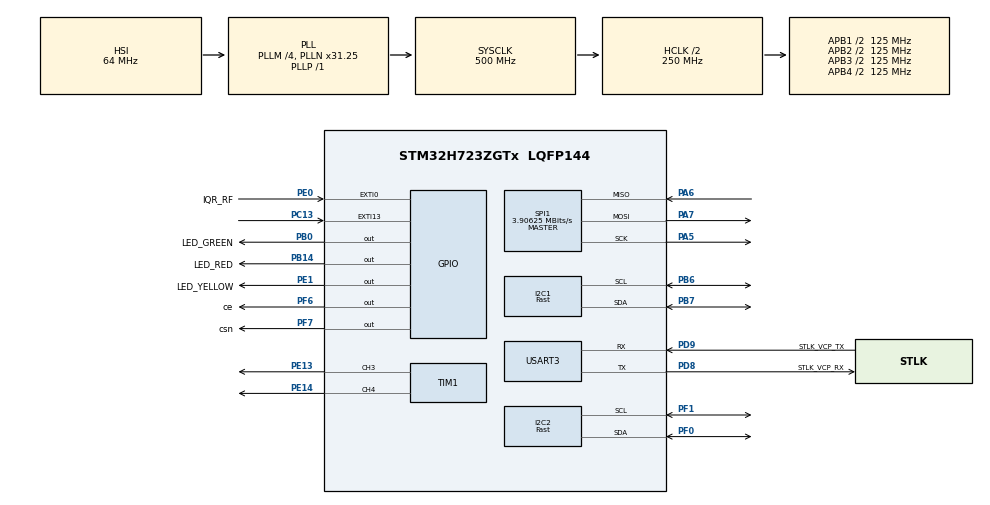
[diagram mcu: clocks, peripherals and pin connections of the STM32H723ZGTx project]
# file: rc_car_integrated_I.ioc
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CORTEX_M7.default_mode_Activation=1
Dma.Request0=USART3_RX
Dma.USART3_RX.0.Direction=DMA_PERIPH_TO_MEMORY
Dma.USART3_RX.0.EventEnable=DISABLE
Dma.USART3_RX.0.FIFOMode=DMA_FIFOMODE_DISABLE
Dma.USART3_RX.0.Instance=DMA1_Stream0
Dma.USART3_RX.0.MemDataAlignment=DMA_MDATAALIGN_BYTE
Dma.USART3_RX.0.MemInc=DMA_MINC_ENABLE
Dma.USART3_RX.0.Mode=DMA_NORMAL
Dma.USART3_RX.0.PeriphDataAlignment=DMA_PDATAALIGN_BYTE
Dma.USART3_RX.0.PeriphInc=DMA_PINC_DISABLE
Dma.USART3_RX.0.Polarity=HAL_DMAMUX_REQ_GEN_RISING
Dma.USART3_RX.0.Priority=DMA_PRIORITY_LOW
Dma.USART3_RX.0.RequestNumber=1
Dma.USART3_RX.0.SignalID=NONE
Dma.USART3_RX.0.SyncEnable=DISABLE
Dma.USART3_RX.0.SyncPolarity=HAL_DMAMUX_SYNC_NO_EVENT
Dma.USART3_RX.0.SyncRequestNumber=1
Dma.USART3_RX.0.SyncSignalID=NONE
I2C1.I2C_Speed_Mode=I2C_Fast
I2C1.Timing=0x00C042E4
I2C2.I2C_Speed_Mode=I2C_Fast
I2C2.Timing=0x00C042E4
Mcu.Family=STM32H7
Mcu.Name=STM32H723ZGTx
Mcu.Package=LQFP144
NVIC.DMA1_Stream0_IRQn=true\:0\:0\:false\:false\:true\:false\:true\:true
NVIC.PriorityGroup=NVIC_PRIORITYGROUP_4
NVIC.TIM2_IRQn=true\:0\:0\:false\:false\:true\:true\:true\:true
NVIC.TIM3_IRQn=true\:0\:0\:true\:false\:true\:true\:true\:true
NVIC.USART3_IRQn=true\:0\:0\:false\:false\:true\:true\:true\:true
PA13(JTMS/SWDIO).GPIO_Label=SWDIO
PA13(JTMS/SWDIO).Signal=DEBUG_JTMS-SWDIO
PA14(JTCK/SWCLK).GPIO_Label=SWCLK
PA14(JTCK/SWCLK).Signal=DEBUG_JTCK-SWCLK
PA5.Mode=Full_Duplex_Master
PA5.Signal=SPI1_SCK
PA6.Mode=Full_Duplex_Master
PA6.Signal=SPI1_MISO
PA7.Mode=Full_Duplex_Master
PA7.Signal=SPI1_MOSI
PB0.GPIO_Label=LED_GREEN
PB0.Signal=GPIO_Output
PB14.GPIO_Label=LED_RED
PB14.Signal=GPIO_Output
PB6.Mode=I2C
PB6.Signal=I2C1_SCL
PB7.Mode=I2C
PB7.Signal=I2C1_SDA
PC13.Signal=GPXTI13
PC14-OSC32_IN.Signal=RCC_OSC32_IN
PC15-OSC32_OUT.Signal=RCC_OSC32_OUT
PD8.GPIO_Label=STLK_VCP_RX
PD8.Mode=Asynchronous
PD8.Signal=USART3_TX
PD9.GPIO_Label=STLK_VCP_TX
PD9.Mode=Asynchronous
PD9.Signal=USART3_RX
PE0.GPIO_Label=IQR_RF
PE0.Signal=GPXTI0
PE1.GPIO_Label=LED_YELLOW
PE1.Signal=GPIO_Output
PE13.Signal=S_TIM1_CH3
PE14.Signal=S_TIM1_CH4
PF0.Mode=I2C
PF0.Signal=I2C2_SDA
PF1.Mode=I2C
PF1.Signal=I2C2_SCL
PF6.GPIO_Label=ce
PF6.PinState=GPIO_PIN_SET
PF6.Signal=GPIO_Output
PF7.GPIO_Label=csn
PF7.PinState=GPIO_PIN_SET
PF7.Signal=GPIO_Output
ProjectManager.HeapSize=0x200
ProjectManager.StackSize=0x400
ProjectManager.TargetToolchain=STM32CubeIDE
RCC.ADCFreq_Value=608000000
RCC.APB1Freq_Value=125000000
RCC.APB2Freq_Value=125000000
RCC.APB3Freq_Value=125000000
RCC.APB4Freq_Value=125000000
RCC.CortexFreq_Value=500000000
RCC.D1PPRE=RCC_APB3_DIV2
RCC.D2PPRE1=RCC_APB1_DIV2
RCC.D2PPRE2=RCC_APB2_DIV2
RCC.D3PPRE=RCC_APB4_DIV2
RCC.DIVM1=4
RCC.DIVM2=1
RCC.DIVN1=31
RCC.DIVN2=19
RCC.DIVP1=1
RCC.DIVQ1=4
RCC.HCLKFreq_Value=250000000
RCC.HPRE=RCC_HCLK_DIV2
RCC.HSE_VALUE=8000000
RCC.PLLFRACN=2048
RCC.SYSCLKFreq_VALUE=500000000
RCC.SYSCLKSource=RCC_SYSCLKSOURCE_PLLCLK
RCC.USBCLockSelection=RCC_USBCLKSOURCE_HSI48
RCC.USBFreq_Value=48000000
SH.S_TIM1_CH3.0=TIM1_CH3,PWM Generation3 CH3
SH.S_TIM1_CH4.0=TIM1_CH4,PWM Generation4 CH4
SPI1.BaudRatePrescaler=SPI_BAUDRATEPRESCALER_32
SPI1.CalculateBaudRate=3.90625 MBits/s
SPI1.DataSize=SPI_DATASIZE_8BIT
SPI1.Direction=SPI_DIRECTION_2LINES
SPI1.Mode=SPI_MODE_MASTER
SPI1.VirtualType=VM_MASTER
TIM1.Channel-PWM\ Generation3\ CH3=TIM_CHANNEL_3
TIM1.Channel-PWM\ Generation4\ CH4=TIM_CHANNEL_4
TIM2.Period=10000
TIM2.Prescaler=250-1
TIM24.Prescaler=25-1
TIM3.Prescaler=250-1
USART3.VirtualMode-Asynchronous=VM_ASYNC
VP_MEMORYMAP_VS_MEMORYMAP.Mode=CurAppReg
VP_TIM1_VS_ClockSourceINT.Mode=Internal
VP_TIM24_VS_ClockSourceINT.Mode=Internal
VP_TIM2_VS_ClockSourceINT.Mode=Internal
VP_TIM3_VS_ClockSourceINT.Mode=Internal
board=NUCLEO-H723ZG

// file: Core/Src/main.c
/* USER CODE BEGIN Header */
/**
  ******************************************************************************
  * @file           : main.c
  * @brief          : Main program body
  ******************************************************************************
  * @attention
  *
  * Copyright (c) 2025 STMicroelectronics.
  * All rights reserved.
  *
  * This software is licensed under terms that can be found in the LICENSE file
  * in the root directory of this software component.
  * If no LICENSE file comes with this software, it is provided AS-IS.
  *
  ******************************************************************************
  */
/* USER CODE END Header */
#include "main.h"

/* USER CODE BEGIN Includes */
#include <stdint.h>
#include <stdio.h>
#include <string.h>
#include <ctype.h>
#include <stdlib.h>
#include "GarminLidarLiteV3.h"
#include "LIS3DH.h"
#include "stm32h7xx_hal.h"
#include "delay.h" // Include delay.h for delay functions
#include "commandReader.h"
#include "NRF24_conf.h"
#include "NRF24_reg_addresses.h"
#include "NRF24.h"

/* USER CODE END Includes */

/* USER CODE BEGIN PD */
#define UART_DMA_RX_SIZE 32
#define PLD_S 32

/* USER CODE END PD */

I2C_HandleTypeDef hi2c1;
I2C_HandleTypeDef hi2c2;

SPI_HandleTypeDef hspi1;

TIM_HandleTypeDef htim1;
TIM_HandleTypeDef htim2;
TIM_HandleTypeDef htim3;
TIM_HandleTypeDef htim24;

UART_HandleTypeDef huart3;
DMA_HandleTypeDef hdma_usart3_rx;

/* USER CODE BEGIN PV */
///////////////////// State Machines  ////////////////////////////////////////////////////////
typedef enum
{
	WAIT_STATE,
	FORWARD_STATE,
	BACKWARD_STATE,
	BRAKE_STATE,
	COAST_STATE,
	GET_SENSOR_DATA_STATE,
	SET_PID_STATE
} StateType;
StateType currentState = WAIT_STATE;
StateType nextState = WAIT_STATE;

typedef enum
{
	RX_STATE,
	TX_STATE
} CommModeType;
CommModeType currentCommMode = RX_STATE;

///////////////////// Structures To use as Global Variables   ////////////////////////////////////////////////////////

struct DataToTransmit
{
   // Disregarding the cmd, all the variables byte size should add up to 18-20bytes
	uint8_t cmd[PLD_S]; // Will grab all the structure variables compress to string and transmit through NRF24L01
	int32_t a_x; // Store the acceleration in x-axis
    int32_t a_y; // Store the acceleration in y-axis
    int32_t a_z; // Store the acceleration in z-axis
    uint16_t distance_cm; // Store the distance measurement in centimeters
    char stationaryFlag;  // This is Flag to indicate back to the transmitter whether there is a stationary object when the car is accelerating.
    uint32_t timestamp; // in milliseconds

};

struct DataToReceive
{
	// Disregarding the cmd, all the variables byte size should add up to 14-16bytes
	uint8_t cmd[PLD_S]; // The command is received as a string and will be parsed to determine the action and parameters to store
	// under the DataToReceive structure.
	int32_t pwm_value; // Temporarily will use pwm value, for testing the car until the speed can be determined after figure out the actual speed of the RC car.
	int16_t setSpeed; // Will grab the speed value received from the command and store it here, which will be used to set the PWM duty cycle for motor control.
	int16_t Pset; // PID proportional gain
	int16_t Iset; // PID integral gain
	int16_t Dset; // PID derivative gain
	int32_t sampleTime; // Sampling time for the PID controller, which will determine how often the control loop runs and updates the motor commands based on the sensor feedback.
};

struct TimeTracking
{
	uint32_t seconds_counter; // This will keep track of the total elapsed time in seconds since the system started, which can be useful for timestamping data and events.
	uint32_t set_timer_period; // This variable will store the timer period in ticks, which is used to configure the timer interrupt frequency for tasks like sensor reading and control loop execution.
	uint32_t stamped_time; // This variable will store the timestamp of the last sensor reading or control loop execution, which can be used to calculate elapsed time and ensure consistent timing for the control algorithm.
	uint32_t milliAdder; // This variable will add a certain number of milliseconds to the stamped_time to determine when the next sensor reading or control loop execution should occur, allowing for precise timing control in the system.
	uint32_t timeAccumulator; // This variable will accumulate the elapsed time in milliseconds.
};

///////////////////// Variable Declarations  ////////////////////////////////////////////////////////

////// UART Declarations  //////////////////////////////////////
/// will not be used unless there is some troubleshooting needed.
// For UART message processing
char uart_current_msg[UART_DMA_RX_SIZE];
// UART DMA Buffer
uint8_t UART3_rxBuffer[UART_DMA_RX_SIZE]; // DMA buffer

////// Time Tracking Declarations  //////////////////////////////////////
struct TimeTracking Tset =
{
    .seconds_counter = 0,
    .set_timer_period = 10000,
	.stamped_time = 0,
	.milliAdder = 0,
	.timeAccumulator = 0
};
// Rate of ticks is 1MHz with prescalar of 100 (assuming 100MHz clock)
// 1ticks = 1us

//////  LIDAR Declarations  //////////////////////////////////////
// Sensitivity level
volatile uint8_t sensitivity_level = 100;
volatile uint8_t acq_cmd_param = TAKE_DISTANCE_MEASUREMENT_WITH_BIAS_CORRECTION;

//////  Commands Declarations  //////////////////////////////////////
struct DataToTransmit Transmit = {0};  // This initializes all members to 0
struct DataToReceive Receive = {0};    // This initializes all members to 0

//////  NRF24L01 Declarations  //////////////////////////////////////
uint8_t tx_addr[5] = {0x45, 0x55, 0x67, 0x10, 0x21};

volatile int pwm_value = 0;

/* USER CODE END PV */

void SystemClock_Config(void);
static void MPU_Config(void);
static void MX_GPIO_Init(void);
static void MX_DMA_Init(void);
static void MX_SPI1_Init(void);
static void MX_TIM1_Init(void);
static void MX_TIM2_Init(void);
static void MX_TIM24_Init(void);
static void MX_USART3_UART_Init(void);
static void MX_I2C1_Init(void);
static void MX_I2C2_Init(void);
static void MX_TIM3_Init(void);
/* USER CODE BEGIN PFP */
void nrf24_setup(void);

/* USER CODE END PFP */

int main(void)
{

  /* MPU Configuration--------------------------------------------------------*/
  MPU_Config();

  /* MCU Configuration--------------------------------------------------------*/

  /* Reset of all peripherals, Initializes the Flash interface and the Systick. */
  HAL_Init();

  /* Configure the system clock */
  SystemClock_Config();

  /* Initialize all configured peripherals */
  MX_GPIO_Init();
  MX_DMA_Init();
  MX_SPI1_Init();
  MX_TIM1_Init();
  MX_TIM2_Init();
  MX_TIM24_Init();
  MX_USART3_UART_Init();
  MX_I2C1_Init();
  MX_I2C2_Init();
  MX_TIM3_Init();
  /* USER CODE BEGIN 2 */
  lis3dh_init();
  GarLiteV3_Init();
  HAL_UART_Receive_DMA(&huart3, UART3_rxBuffer, UART_DMA_RX_SIZE);
  // Start TIM3 with interrupt
  HAL_TIM_Base_Start_IT(&htim3);
  // Start TIM2 with interrupt
//  HAL_TIM_Base_Start_IT(&htim2);
  // Initialized NRF24L01
  nrf24_setup();
  nrf24_listen();

  // Use absolute compare (tick) values directly instead of percentage
  // These are timer ticks (must be <= htim1.Init.Period)
  uint32_t pulse_ch3 = 25000U; // channel 1
  uint32_t pulse_ch4 = 25000U; // channel 2
//  char msg[50];

  // Set up time Adder for timestamping and timing control
  Tset.milliAdder = Tset.set_timer_period / 1000;

  /* Sanity checks: ensure values do not exceed ARR (which is htim1.Init.Period) */
  if (pulse_ch3 > (uint32_t)htim1.Init.Period)
  {
    Error_Handler();
  }
  if (pulse_ch4 > (uint32_t)htim1.Init.Period)
  {
    Error_Handler();
  }

  /* Start PWM channels */
  if (HAL_TIM_PWM_Start(&htim1, TIM_CHANNEL_3) != HAL_OK)
  {
    Error_Handler();
  }
  if (HAL_TIM_PWM_Start(&htim1, TIM_CHANNEL_4) != HAL_OK)
  {
    Error_Handler();
  }

  /* USER CODE END 2 */

  /* Infinite loop */
  while (1)
  {

    /* USER CODE BEGIN 3 */
	  switch (currentState)
	  {
	  	  case WAIT_STATE:
		  // Do nothing, wait for command
		  break;

		  case FORWARD_STATE:

			  pulse_ch3 = Receive.pwm_value;
			  __HAL_TIM_SET_COMPARE(&htim1, TIM_CHANNEL_3, pulse_ch3);
			  __HAL_TIM_SET_COMPARE(&htim1, TIM_CHANNEL_4, 0);
//			  HAL_GPIO_TogglePin(LED_GREEN_GPIO_Port, LED_GREEN_Pin);
//			  strcpy(msg, "State: Forward\r\n");
//			  HAL_UART_Transmit(&huart3, (char *)&msg, strlen(msg), HAL_MAX_DELAY); // Transmit a message for testingg
			  break;

		  case BACKWARD_STATE:
			  pulse_ch4 = Receive.pwm_value;
			  __HAL_TIM_SET_COMPARE(&htim1, TIM_CHANNEL_3, 0);
			  __HAL_TIM_SET_COMPARE(&htim1, TIM_CHANNEL_4, pulse_ch4);
//			  HAL_GPIO_TogglePin(LED_GREEN_GPIO_Port, LED_GREEN_Pin);
			  break;

		  case BRAKE_STATE:
			  pulse_ch3 = Receive.pwm_value;
			  pulse_ch4 = Receive.pwm_value;
			  __HAL_TIM_SET_COMPARE(&htim1, TIM_CHANNEL_3, pulse_ch3);
			  __HAL_TIM_SET_COMPARE(&htim1, TIM_CHANNEL_4, pulse_ch4);
//			  HAL_GPIO_TogglePin(LED_GREEN_GPIO_Port, LED_GREEN_Pin);
			  break;

		  case COAST_STATE:
			  __HAL_TIM_SET_COMPARE(&htim1, TIM_CHANNEL_3, 0);
			  __HAL_TIM_SET_COMPARE(&htim1, TIM_CHANNEL_4, 0);
//			  HAL_GPIO_TogglePin(LED_GREEN_GPIO_Port, LED_GREEN_Pin);
//			  strcpy(msg, "State: Coast\r\n");
//			  HAL_UART_Transmit(&huart3, (char *)&msg, strlen(msg), HAL_MAX_DELAY); // Transmit a message for testing
			  currentState = WAIT_STATE; // Transition back to wait state after coasting
			  break;

		  case SET_PID_STATE:
//			  HAL_GPIO_TogglePin(LED_GREEN_GPIO_Port, LED_GREEN_Pin);
			  // Will set up PID parameters later on, after performing enough test.
			  break;

		  case GET_SENSOR_DATA_STATE:
//			  HAL_GPIO_TogglePin(LED_GREEN_GPIO_Port, LED_GREEN_Pin);
			  // Get Accelerometer data for now.
//			  read_XYZ_Acceleration(&Transmit.a_x, &Transmit.a_y, &Transmit.a_z); /// Return 16 bit raw data, need to convert to mg in the future if needed. For now just transmit the raw data.
			  measure_XYZ_Acceleration(&Transmit.a_x, &Transmit.a_y, &Transmit.a_z);
			  simple_measurement(&Transmit.distance_cm,0);
			  // Packet the data to transmit through NRF24L01
			  Tset.stamped_time = Tset.stamped_time + Tset.milliAdder; // Get the current time in milliseconds
//			  uint16_t len = snprintf((char *)Transmit.cmd, sizeof(Transmit.cmd), "%lu,%u\r\n,%u\r\n,%u\r\n,%u\r\n",Tset.stamped_time, Transmit.distance_cm, Transmit.a_x, Transmit.a_y, Transmit.a_z);
			  uint16_t len = snprintf((char *)Transmit.cmd, sizeof(Transmit.cmd), "%lu,%u,%ld,%ld,%ld\r\n",
			                          Tset.stamped_time, Transmit.distance_cm, Transmit.a_x, Transmit.a_y, Transmit.a_z);

		      if (len > 0)
			  {
				  HAL_UART_Transmit(&huart3, (uint8_t *)Transmit.cmd, (uint16_t)len, HAL_MAX_DELAY);
			  }
		      nrf24_transmit(Transmit.cmd, PLD_S); // Transmit the data through NRF24L01
			  currentState = nextState; // Transition back to wait state after getting sensor data
			  break;

		  default:
			  // Should never reach here
			  Error_Handler();
			  break;

	  }
  }
  /* USER CODE END 3 */
}

void SystemClock_Config(void)
{
  RCC_OscInitTypeDef RCC_OscInitStruct = {0};
  RCC_ClkInitTypeDef RCC_ClkInitStruct = {0};

  /** Supply configuration update enable
  */
  HAL_PWREx_ConfigSupply(PWR_LDO_SUPPLY);

  /** Configure the main internal regulator output voltage
  */
  __HAL_PWR_VOLTAGESCALING_CONFIG(PWR_REGULATOR_VOLTAGE_SCALE0);

  while(!__HAL_PWR_GET_FLAG(PWR_FLAG_VOSRDY)) {}

  /** Initializes the RCC Oscillators according to the specified parameters
  * in the RCC_OscInitTypeDef structure.
  */
  RCC_OscInitStruct.OscillatorType = RCC_OSCILLATORTYPE_HSI;
  RCC_OscInitStruct.HSIState = RCC_HSI_DIV1;
  RCC_OscInitStruct.HSICalibrationValue = 64;
  RCC_OscInitStruct.PLL.PLLState = RCC_PLL_ON;
  RCC_OscInitStruct.PLL.PLLSource = RCC_PLLSOURCE_HSI;
  RCC_OscInitStruct.PLL.PLLM = 4;
  RCC_OscInitStruct.PLL.PLLN = 31;
  RCC_OscInitStruct.PLL.PLLP = 1;
  RCC_OscInitStruct.PLL.PLLQ = 4;
  RCC_OscInitStruct.PLL.PLLR = 2;
  RCC_OscInitStruct.PLL.PLLRGE = RCC_PLL1VCIRANGE_3;
  RCC_OscInitStruct.PLL.PLLVCOSEL = RCC_PLL1VCOWIDE;
  RCC_OscInitStruct.PLL.PLLFRACN = 2048;
  if (HAL_RCC_OscConfig(&RCC_OscInitStruct) != HAL_OK)
  {
    Error_Handler();
  }

  /** Initializes the CPU, AHB and APB buses clocks
  */
  RCC_ClkInitStruct.ClockType = RCC_CLOCKTYPE_HCLK|RCC_CLOCKTYPE_SYSCLK
                              |RCC_CLOCKTYPE_PCLK1|RCC_CLOCKTYPE_PCLK2
                              |RCC_CLOCKTYPE_D3PCLK1|RCC_CLOCKTYPE_D1PCLK1;
  RCC_ClkInitStruct.SYSCLKSource = RCC_SYSCLKSOURCE_PLLCLK;
  RCC_ClkInitStruct.SYSCLKDivider = RCC_SYSCLK_DIV1;
  RCC_ClkInitStruct.AHBCLKDivider = RCC_HCLK_DIV2;
  RCC_ClkInitStruct.APB3CLKDivider = RCC_APB3_DIV2;
  RCC_ClkInitStruct.APB1CLKDivider = RCC_APB1_DIV2;
  RCC_ClkInitStruct.APB2CLKDivider = RCC_APB2_DIV2;
  RCC_ClkInitStruct.APB4CLKDivider = RCC_APB4_DIV2;

  if (HAL_RCC_ClockConfig(&RCC_ClkInitStruct, FLASH_LATENCY_3) != HAL_OK)
  {
    Error_Handler();
  }
}

static void MX_I2C1_Init(void)
{

  hi2c1.Instance = I2C1;
  hi2c1.Init.Timing = 0x00C042E4;
  hi2c1.Init.OwnAddress1 = 0;
  hi2c1.Init.AddressingMode = I2C_ADDRESSINGMODE_7BIT;
  hi2c1.Init.DualAddressMode = I2C_DUALADDRESS_DISABLE;
  hi2c1.Init.OwnAddress2 = 0;
  hi2c1.Init.OwnAddress2Masks = I2C_OA2_NOMASK;
  hi2c1.Init.GeneralCallMode = I2C_GENERALCALL_DISABLE;
  hi2c1.Init.NoStretchMode = I2C_NOSTRETCH_DISABLE;
  if (HAL_I2C_Init(&hi2c1) != HAL_OK)
  {
    Error_Handler();
  }

  /** Configure Analogue filter
  */
  if (HAL_I2CEx_ConfigAnalogFilter(&hi2c1, I2C_ANALOGFILTER_ENABLE) != HAL_OK)
  {
    Error_Handler();
  }

  /** Configure Digital filter
  */
  if (HAL_I2CEx_ConfigDigitalFilter(&hi2c1, 0) != HAL_OK)
  {
    Error_Handler();
  }

}

static void MX_I2C2_Init(void)
{

  hi2c2.Instance = I2C2;
  hi2c2.Init.Timing = 0x00C042E4;
  hi2c2.Init.OwnAddress1 = 0;
  hi2c2.Init.AddressingMode = I2C_ADDRESSINGMODE_7BIT;
  hi2c2.Init.DualAddressMode = I2C_DUALADDRESS_DISABLE;
  hi2c2.Init.OwnAddress2 = 0;
  hi2c2.Init.OwnAddress2Masks = I2C_OA2_NOMASK;
  hi2c2.Init.GeneralCallMode = I2C_GENERALCALL_DISABLE;
  hi2c2.Init.NoStretchMode = I2C_NOSTRETCH_DISABLE;
  if (HAL_I2C_Init(&hi2c2) != HAL_OK)
  {
    Error_Handler();
  }

  /** Configure Analogue filter
  */
  if (HAL_I2CEx_ConfigAnalogFilter(&hi2c2, I2C_ANALOGFILTER_ENABLE) != HAL_OK)
  {
    Error_Handler();
  }

  /** Configure Digital filter
  */
  if (HAL_I2CEx_ConfigDigitalFilter(&hi2c2, 0) != HAL_OK)
  {
    Error_Handler();
  }

}

static void MX_SPI1_Init(void)
{

  /* SPI1 parameter configuration*/
  hspi1.Instance = SPI1;
  hspi1.Init.Mode = SPI_MODE_MASTER;
  hspi1.Init.Direction = SPI_DIRECTION_2LINES;
  hspi1.Init.DataSize = SPI_DATASIZE_8BIT;
  hspi1.Init.CLKPolarity = SPI_POLARITY_LOW;
  hspi1.Init.CLKPhase = SPI_PHASE_1EDGE;
  hspi1.Init.NSS = SPI_NSS_SOFT;
  hspi1.Init.BaudRatePrescaler = SPI_BAUDRATEPRESCALER_32;
  hspi1.Init.FirstBit = SPI_FIRSTBIT_MSB;
  hspi1.Init.TIMode = SPI_TIMODE_DISABLE;
  hspi1.Init.CRCCalculation = SPI_CRCCALCULATION_DISABLE;
  hspi1.Init.CRCPolynomial = 0x0;
  hspi1.Init.NSSPMode = SPI_NSS_PULSE_ENABLE;
  hspi1.Init.NSSPolarity = SPI_NSS_POLARITY_LOW;
  hspi1.Init.FifoThreshold = SPI_FIFO_THRESHOLD_01DATA;
  hspi1.Init.TxCRCInitializationPattern = SPI_CRC_INITIALIZATION_ALL_ZERO_PATTERN;
  hspi1.Init.RxCRCInitializationPattern = SPI_CRC_INITIALIZATION_ALL_ZERO_PATTERN;
  hspi1.Init.MasterSSIdleness = SPI_MASTER_SS_IDLENESS_00CYCLE;
  hspi1.Init.MasterInterDataIdleness = SPI_MASTER_INTERDATA_IDLENESS_00CYCLE;
  hspi1.Init.MasterReceiverAutoSusp = SPI_MASTER_RX_AUTOSUSP_DISABLE;
  hspi1.Init.MasterKeepIOState = SPI_MASTER_KEEP_IO_STATE_DISABLE;
  hspi1.Init.IOSwap = SPI_IO_SWAP_DISABLE;
  if (HAL_SPI_Init(&hspi1) != HAL_OK)
  {
    Error_Handler();
  }

}

static void MX_TIM1_Init(void)
{

  TIM_ClockConfigTypeDef sClockSourceConfig = {0};
  TIM_MasterConfigTypeDef sMasterConfig = {0};
  TIM_OC_InitTypeDef sConfigOC = {0};
  TIM_BreakDeadTimeConfigTypeDef sBreakDeadTimeConfig = {0};

  htim1.Instance = TIM1;
  htim1.Init.Prescaler = 0;
  htim1.Init.CounterMode = TIM_COUNTERMODE_UP;
  htim1.Init.Period = 65535;
  htim1.Init.ClockDivision = TIM_CLOCKDIVISION_DIV1;
  htim1.Init.RepetitionCounter = 0;
  htim1.Init.AutoReloadPreload = TIM_AUTORELOAD_PRELOAD_DISABLE;
  if (HAL_TIM_Base_Init(&htim1) != HAL_OK)
  {
    Error_Handler();
  }
  sClockSourceConfig.ClockSource = TIM_CLOCKSOURCE_INTERNAL;
  if (HAL_TIM_ConfigClockSource(&htim1, &sClockSourceConfig) != HAL_OK)
  {
    Error_Handler();
  }
  if (HAL_TIM_PWM_Init(&htim1) != HAL_OK)
  {
    Error_Handler();
  }
  sMasterConfig.MasterOutputTrigger = TIM_TRGO_RESET;
  sMasterConfig.MasterOutputTrigger2 = TIM_TRGO2_RESET;
  sMasterConfig.MasterSlaveMode = TIM_MASTERSLAVEMODE_DISABLE;
  if (HAL_TIMEx_MasterConfigSynchronization(&htim1, &sMasterConfig) != HAL_OK)
  {
    Error_Handler();
  }
  sConfigOC.OCMode = TIM_OCMODE_PWM1;
  sConfigOC.Pulse = 0;
  sConfigOC.OCPolarity = TIM_OCPOLARITY_HIGH;
  sConfigOC.OCNPolarity = TIM_OCNPOLARITY_HIGH;
  sConfigOC.OCFastMode = TIM_OCFAST_DISABLE;
  sConfigOC.OCIdleState = TIM_OCIDLESTATE_RESET;
  sConfigOC.OCNIdleState = TIM_OCNIDLESTATE_RESET;
  if (HAL_TIM_PWM_ConfigChannel(&htim1, &sConfigOC, TIM_CHANNEL_3) != HAL_OK)
  {
    Error_Handler();
  }
  if (HAL_TIM_PWM_ConfigChannel(&htim1, &sConfigOC, TIM_CHANNEL_4) != HAL_OK)
  {
    Error_Handler();
  }
  sBreakDeadTimeConfig.OffStateRunMode = TIM_OSSR_DISABLE;
  sBreakDeadTimeConfig.OffStateIDLEMode = TIM_OSSI_DISABLE;
  sBreakDeadTimeConfig.LockLevel = TIM_LOCKLEVEL_OFF;
  sBreakDeadTimeConfig.DeadTime = 0;
  sBreakDeadTimeConfig.BreakState = TIM_BREAK_DISABLE;
  sBreakDeadTimeConfig.BreakPolarity = TIM_BREAKPOLARITY_HIGH;
  sBreakDeadTimeConfig.BreakFilter = 0;
  sBreakDeadTimeConfig.Break2State = TIM_BREAK2_DISABLE;
  sBreakDeadTimeConfig.Break2Polarity = TIM_BREAK2POLARITY_HIGH;
  sBreakDeadTimeConfig.Break2Filter = 0;
  sBreakDeadTimeConfig.AutomaticOutput = TIM_AUTOMATICOUTPUT_DISABLE;
  if (HAL_TIMEx_ConfigBreakDeadTime(&htim1, &sBreakDeadTimeConfig) != HAL_OK)
  {
    Error_Handler();
  }
  HAL_TIM_MspPostInit(&htim1);

}

static void MX_TIM2_Init(void)
{

  TIM_ClockConfigTypeDef sClockSourceConfig = {0};
  TIM_MasterConfigTypeDef sMasterConfig = {0};

  htim2.Instance = TIM2;
  htim2.Init.Prescaler = 250-1;
  htim2.Init.CounterMode = TIM_COUNTERMODE_UP;
  htim2.Init.Period = 10000;
  htim2.Init.ClockDivision = TIM_CLOCKDIVISION_DIV1;
  htim2.Init.AutoReloadPreload = TIM_AUTORELOAD_PRELOAD_DISABLE;
  if (HAL_TIM_Base_Init(&htim2) != HAL_OK)
  {
    Error_Handler();
  }
  sClockSourceConfig.ClockSource = TIM_CLOCKSOURCE_INTERNAL;
  if (HAL_TIM_ConfigClockSource(&htim2, &sClockSourceConfig) != HAL_OK)
  {
    Error_Handler();
  }
  sMasterConfig.MasterOutputTrigger = TIM_TRGO_RESET;
  sMasterConfig.MasterSlaveMode = TIM_MASTERSLAVEMODE_DISABLE;
  if (HAL_TIMEx_MasterConfigSynchronization(&htim2, &sMasterConfig) != HAL_OK)
  {
    Error_Handler();
  }

}

static void MX_TIM3_Init(void)
{

  TIM_ClockConfigTypeDef sClockSourceConfig = {0};
  TIM_MasterConfigTypeDef sMasterConfig = {0};

  htim3.Instance = TIM3;
  htim3.Init.Prescaler = 250-1;
  htim3.Init.CounterMode = TIM_COUNTERMODE_UP;
  htim3.Init.Period = Tset.set_timer_period-1; // Set the period based on the desired timer interrupt frequency (e.g., 10ms)
  htim3.Init.ClockDivision = TIM_CLOCKDIVISION_DIV1;
  htim3.Init.AutoReloadPreload = TIM_AUTORELOAD_PRELOAD_DISABLE;
  if (HAL_TIM_Base_Init(&htim3) != HAL_OK)
  {
    Error_Handler();
  }
  sClockSourceConfig.ClockSource = TIM_CLOCKSOURCE_INTERNAL;
  if (HAL_TIM_ConfigClockSource(&htim3, &sClockSourceConfig) != HAL_OK)
  {
    Error_Handler();
  }
  sMasterConfig.MasterOutputTrigger = TIM_TRGO_RESET;
  sMasterConfig.MasterSlaveMode = TIM_MASTERSLAVEMODE_DISABLE;
  if (HAL_TIMEx_MasterConfigSynchronization(&htim3, &sMasterConfig) != HAL_OK)
  {
    Error_Handler();
  }
  /* USER CODE BEGIN TIM3_Init 2 */
//  htim3.Init.Period = Tset.set_timer_period-1;
  /* USER CODE END TIM3_Init 2 */

}

static void MX_TIM24_Init(void)
{

  TIM_ClockConfigTypeDef sClockSourceConfig = {0};
  TIM_MasterConfigTypeDef sMasterConfig = {0};

  htim24.Instance = TIM24;
  htim24.Init.Prescaler = 25-1;
  htim24.Init.CounterMode = TIM_COUNTERMODE_UP;
  htim24.Init.Period = 4294967295;
  htim24.Init.ClockDivision = TIM_CLOCKDIVISION_DIV1;
  htim24.Init.AutoReloadPreload = TIM_AUTORELOAD_PRELOAD_DISABLE;
  if (HAL_TIM_Base_Init(&htim24) != HAL_OK)
  {
    Error_Handler();
  }
  sClockSourceConfig.ClockSource = TIM_CLOCKSOURCE_INTERNAL;
  if (HAL_TIM_ConfigClockSource(&htim24, &sClockSourceConfig) != HAL_OK)
  {
    Error_Handler();
  }
  sMasterConfig.MasterOutputTrigger = TIM_TRGO_RESET;
  sMasterConfig.MasterSlaveMode = TIM_MASTERSLAVEMODE_DISABLE;
  if (HAL_TIMEx_MasterConfigSynchronization(&htim24, &sMasterConfig) != HAL_OK)
  {
    Error_Handler();
  }

}

static void MX_USART3_UART_Init(void)
{

  huart3.Instance = USART3;
  huart3.Init.BaudRate = 115200;
  huart3.Init.WordLength = UART_WORDLENGTH_8B;
  huart3.Init.StopBits = UART_STOPBITS_1;
  huart3.Init.Parity = UART_PARITY_NONE;
  huart3.Init.Mode = UART_MODE_TX_RX;
  huart3.Init.HwFlowCtl = UART_HWCONTROL_NONE;
  huart3.Init.OverSampling = UART_OVERSAMPLING_16;
  huart3.Init.OneBitSampling = UART_ONE_BIT_SAMPLE_DISABLE;
  huart3.Init.ClockPrescaler = UART_PRESCALER_DIV1;
  huart3.AdvancedInit.AdvFeatureInit = UART_ADVFEATURE_NO_INIT;
  if (HAL_UART_Init(&huart3) != HAL_OK)
  {
    Error_Handler();
  }
  if (HAL_UARTEx_SetTxFifoThreshold(&huart3, UART_TXFIFO_THRESHOLD_1_8) != HAL_OK)
  {
    Error_Handler();
  }
  if (HAL_UARTEx_SetRxFifoThreshold(&huart3, UART_RXFIFO_THRESHOLD_1_8) != HAL_OK)
  {
    Error_Handler();
  }
  if (HAL_UARTEx_DisableFifoMode(&huart3) != HAL_OK)
  {
    Error_Handler();
  }

}

static void MX_DMA_Init(void)
{

  /* DMA controller clock enable */
  __HAL_RCC_DMA1_CLK_ENABLE();

  /* DMA interrupt init */
  /* DMA1_Stream0_IRQn interrupt configuration */
  HAL_NVIC_SetPriority(DMA1_Stream0_IRQn, 0, 0);
  HAL_NVIC_EnableIRQ(DMA1_Stream0_IRQn);

}

static void MX_GPIO_Init(void)
{
  GPIO_InitTypeDef GPIO_InitStruct = {0};

  /* GPIO Ports Clock Enable */
  __HAL_RCC_GPIOC_CLK_ENABLE();
  __HAL_RCC_GPIOF_CLK_ENABLE();
  __HAL_RCC_GPIOA_CLK_ENABLE();
  __HAL_RCC_GPIOB_CLK_ENABLE();
  __HAL_RCC_GPIOE_CLK_ENABLE();
  __HAL_RCC_GPIOD_CLK_ENABLE();

  /*Configure GPIO pin Output Level */
  HAL_GPIO_WritePin(GPIOF, ce_Pin|csn_Pin, GPIO_PIN_SET);

  /*Configure GPIO pin Output Level */
  HAL_GPIO_WritePin(GPIOB, LED_GREEN_Pin|LED_RED_Pin, GPIO_PIN_RESET);

  /*Configure GPIO pin Output Level */
  HAL_GPIO_WritePin(LED_YELLOW_GPIO_Port, LED_YELLOW_Pin, GPIO_PIN_RESET);

  /*Configure GPIO pin : PC13 */
  GPIO_InitStruct.Pin = GPIO_PIN_13;
  GPIO_InitStruct.Mode = GPIO_MODE_IT_RISING;
  GPIO_InitStruct.Pull = GPIO_NOPULL;
  HAL_GPIO_Init(GPIOC, &GPIO_InitStruct);

  /*Configure GPIO pins : ce_Pin csn_Pin */
  GPIO_InitStruct.Pin = ce_Pin|csn_Pin;
  GPIO_InitStruct.Mode = GPIO_MODE_OUTPUT_PP;
  GPIO_InitStruct.Pull = GPIO_NOPULL;
  GPIO_InitStruct.Speed = GPIO_SPEED_FREQ_LOW;
  HAL_GPIO_Init(GPIOF, &GPIO_InitStruct);

  /*Configure GPIO pins : LED_GREEN_Pin LED_RED_Pin */
  GPIO_InitStruct.Pin = LED_GREEN_Pin|LED_RED_Pin;
  GPIO_InitStruct.Mode = GPIO_MODE_OUTPUT_PP;
  GPIO_InitStruct.Pull = GPIO_NOPULL;
  GPIO_InitStruct.Speed = GPIO_SPEED_FREQ_LOW;
  HAL_GPIO_Init(GPIOB, &GPIO_InitStruct);

  /*Configure GPIO pin : IQR_RF_Pin */
  GPIO_InitStruct.Pin = IQR_RF_Pin;
  GPIO_InitStruct.Mode = GPIO_MODE_IT_RISING;
  GPIO_InitStruct.Pull = GPIO_NOPULL;
  HAL_GPIO_Init(IQR_RF_GPIO_Port, &GPIO_InitStruct);

  /*Configure GPIO pin : LED_YELLOW_Pin */
  GPIO_InitStruct.Pin = LED_YELLOW_Pin;
  GPIO_InitStruct.Mode = GPIO_MODE_OUTPUT_PP;
  GPIO_InitStruct.Pull = GPIO_NOPULL;
  GPIO_InitStruct.Speed = GPIO_SPEED_FREQ_LOW;
  HAL_GPIO_Init(LED_YELLOW_GPIO_Port, &GPIO_InitStruct);

}

/* USER CODE BEGIN 4 */

// Timer interrupt callback
void HAL_TIM_PeriodElapsedCallback(TIM_HandleTypeDef *htim)
{

	if(htim->Instance == TIM3)
	{
		// Check if the interrupt is from TIM3
		char ReceiveCmd[PLD_S];
		switch (currentCommMode)
		{
		case RX_STATE:
		    // Set YELLOW high, GREEN low to indicate RX state
		    HAL_GPIO_WritePin(LED_YELLOW_GPIO_Port, LED_YELLOW_Pin, GPIO_PIN_SET);
		    HAL_GPIO_WritePin(LED_GREEN_GPIO_Port, LED_GREEN_Pin, GPIO_PIN_RESET);

		    if (nrf24_data_available())
		    {
		        nrf24_receive(Receive.cmd, sizeof(Receive.cmd));
		        nrf24_clear_rx_dr();
		        strncpy(ReceiveCmd, (char *)Receive.cmd, PLD_S - 1);
		        ReceiveCmd[PLD_S - 1] = '\0';

		        char cmd_str[32] = {0};
		        char pwm_str[8] = {0};
		        uint8_t comma_index = 0;
		        parse_uart_command(ReceiveCmd, cmd_str, &comma_index);

		        if (strcmp(cmd_str, "S") == 0)
		        {
		        }
		        else if (strcmp(cmd_str, "E") == 0)
		        {
		        }
		        else if (strcmp(cmd_str, "F") == 0)
		        {
		            uint8_t index = comma_index;
		            parse_uart_value(ReceiveCmd, pwm_str, &index);
		            Receive.pwm_value = (uint16_t)atoi(pwm_str);
		            currentState = FORWARD_STATE;
		        }
		        else if (strcmp(cmd_str, "R") == 0)
		        {
		            uint8_t index = comma_index;
		            parse_uart_value(ReceiveCmd, pwm_str, &index);
		            Receive.pwm_value = (uint16_t)atoi(pwm_str);
		            currentState = BACKWARD_STATE;
		        }
		        else if (strcmp(cmd_str, "B") == 0)
		        {
		            Receive.pwm_value = 25000;
		            currentState = BRAKE_STATE;
		        }
		        else if (strcmp(cmd_str, "C") == 0)
		        {
		            currentState = COAST_STATE;
		        }
		        else if (strcmp(cmd_str, "PID") == 0)
		        {
		            uint8_t index = comma_index;
		            char P_str[8] = {0};
		            char I_str[8] = {0};
		            char D_str[8] = {0};
		            parse_uart_value(ReceiveCmd, P_str, &index);
		            Receive.Pset = (uint16_t)atoi(P_str);
		            parse_uart_value(ReceiveCmd, I_str, &index);
		            Receive.Iset = (uint16_t)atoi(I_str);
		            parse_uart_value(ReceiveCmd, D_str, &index);
		            Receive.Dset = (uint16_t)atoi(D_str);
		            currentState = SET_PID_STATE;
		        }
		        currentCommMode = TX_STATE;
		        nrf24_stop_listen();
		    }
		    else
		    {
		        currentCommMode = TX_STATE;
		        nrf24_stop_listen();
		    }
		    break;

		case TX_STATE:
		    // Set GREEN high, YELLOW low to indicate TX state
		    HAL_GPIO_WritePin(LED_GREEN_GPIO_Port, LED_GREEN_Pin, GPIO_PIN_SET);
		    HAL_GPIO_WritePin(LED_YELLOW_GPIO_Port, LED_YELLOW_Pin, GPIO_PIN_RESET);

		    if (currentState != WAIT_STATE)
		    {
		        strncpy(ReceiveCmd, (char *)Receive.cmd, PLD_S - 1);
		        ReceiveCmd[PLD_S - 1] = '\0';
		        char cmd_str[32] = {0};
		        uint8_t comma_index = 0;
		        parse_uart_command(ReceiveCmd, cmd_str, &comma_index);
		        currentState = GET_SENSOR_DATA_STATE;

		        if (strcmp(cmd_str, "F") == 0)
		        {
		            nextState = FORWARD_STATE;
		        }
		        else if (strcmp(cmd_str, "R") == 0)
		        {
		            nextState = BACKWARD_STATE;
		        }
		        else if (strcmp(cmd_str, "C") == 0)
		        {
		            currentState = COAST_STATE;
		        }
		    }

		    currentCommMode = RX_STATE;
		    nrf24_listen();
		    break;

			default:
				break;
		}

	}
}

void nrf24_setup(void)
{
	// Add your NRF24L01 setup code here if needed
	  ce_high();

	  HAL_Delay(5);

	  ce_low();

	  nrf24_init();

	  nrf24_stop_listen();

	  nrf24_auto_ack_all(auto_ack);
	  nrf24_en_ack_pld(disable);
	  nrf24_dpl(disable);

	  nrf24_set_crc(no_crc, _1byte);

	  nrf24_tx_pwr(_0dbm);
	  nrf24_data_rate(_1mbps);
	  nrf24_set_channel(90);
	  nrf24_set_addr_width(5);

	  nrf24_set_rx_dpl(0, disable);
	  nrf24_set_rx_dpl(1, disable);
	  nrf24_set_rx_dpl(2, disable);
	  nrf24_set_rx_dpl(3, disable);
	  nrf24_set_rx_dpl(4, disable);
	  nrf24_set_rx_dpl(5, disable);

	  nrf24_pipe_pld_size(0, PLD_S);

	  nrf24_auto_retr_delay(4);
	  nrf24_auto_retr_limit(10);

	  nrf24_open_tx_pipe(tx_addr);
	  nrf24_open_rx_pipe(0, tx_addr);
	  ce_high();

}

/* USER CODE END 4 */

 /* MPU Configuration */

void MPU_Config(void)
{
  MPU_Region_InitTypeDef MPU_InitStruct = {0};

  /* Disables the MPU */
  HAL_MPU_Disable();

  /** Initializes and configures the Region and the memory to be protected
  */
  MPU_InitStruct.Enable = MPU_REGION_ENABLE;
  MPU_InitStruct.Number = MPU_REGION_NUMBER0;
  MPU_InitStruct.BaseAddress = 0x0;
  MPU_InitStruct.Size = MPU_REGION_SIZE_4GB;
  MPU_InitStruct.SubRegionDisable = 0x87;
  MPU_InitStruct.TypeExtField = MPU_TEX_LEVEL0;
  MPU_InitStruct.AccessPermission = MPU_REGION_NO_ACCESS;
  MPU_InitStruct.DisableExec = MPU_INSTRUCTION_ACCESS_DISABLE;
  MPU_InitStruct.IsShareable = MPU_ACCESS_SHAREABLE;
  MPU_InitStruct.IsCacheable = MPU_ACCESS_NOT_CACHEABLE;
  MPU_InitStruct.IsBufferable = MPU_ACCESS_NOT_BUFFERABLE;

  HAL_MPU_ConfigRegion(&MPU_InitStruct);
  /* Enables the MPU */
  HAL_MPU_Enable(MPU_PRIVILEGED_DEFAULT);

}

void Error_Handler(void)
{
  __disable_irq();
  while (1)
  {
  }
}
